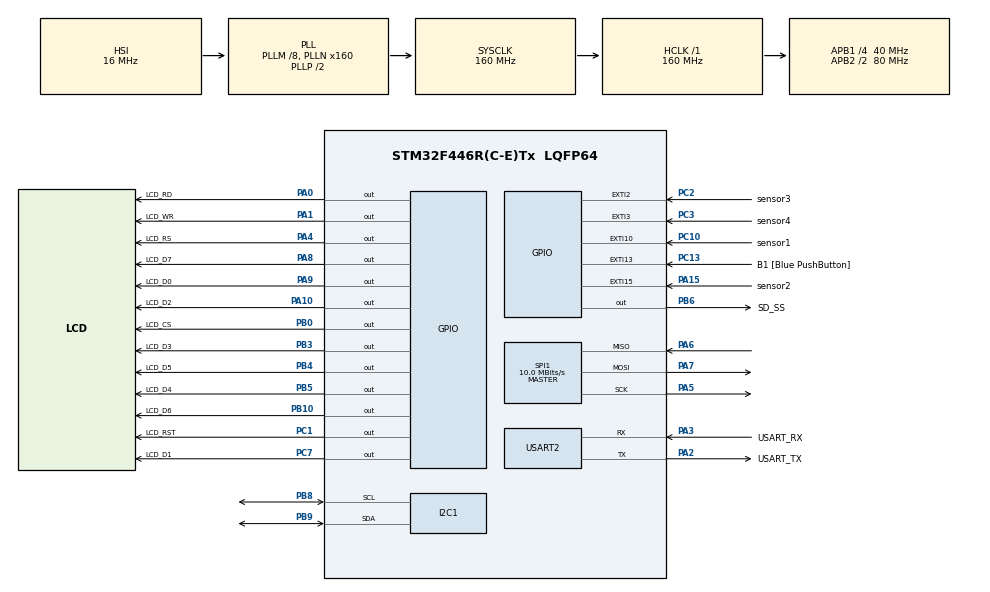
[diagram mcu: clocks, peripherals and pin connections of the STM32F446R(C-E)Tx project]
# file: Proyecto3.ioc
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FATFS._MAX_SS=4096
FATFS._USE_LFN=1
I2C1.OwnAddress=0x30
Mcu.Family=STM32F4
Mcu.Name=STM32F446R(C-E)Tx
Mcu.Package=LQFP64
NVIC.EXTI15_10_IRQn=true\:0\:0\:false\:false\:true\:true\:true\:true
NVIC.EXTI2_IRQn=true\:0\:0\:false\:false\:true\:true\:true\:true
NVIC.EXTI3_IRQn=true\:0\:0\:false\:false\:true\:true\:true\:true
NVIC.I2C1_ER_IRQn=true\:0\:0\:false\:false\:true\:true\:true\:true
NVIC.I2C1_EV_IRQn=true\:0\:0\:false\:false\:true\:true\:true\:true
NVIC.PriorityGroup=NVIC_PRIORITYGROUP_0
NVIC.USART2_IRQn=true\:0\:0\:false\:false\:true\:true\:true\:true
PA0-WKUP.GPIO_Label=LCD_RD
PA0-WKUP.Signal=GPIO_Output
PA1.GPIO_Label=LCD_WR
PA1.Signal=GPIO_Output
PA10.GPIO_Label=LCD_D2
PA10.Signal=GPIO_Output
PA13.GPIO_Label=TMS
PA13.Mode=Serial_Wire
PA13.Signal=SYS_JTMS-SWDIO
PA14.GPIO_Label=TCK
PA14.Mode=Serial_Wire
PA14.Signal=SYS_JTCK-SWCLK
PA15.GPIO_Label=sensor2
PA15.GPIO_ModeDefaultEXTI=GPIO_MODE_IT_RISING_FALLING
PA15.GPIO_PuPd=GPIO_NOPULL
PA15.Signal=GPXTI15
PA2.GPIO_Label=USART_TX
PA2.Mode=Asynchronous
PA2.Signal=USART2_TX
PA3.GPIO_Label=USART_RX
PA3.Mode=Asynchronous
PA3.Signal=USART2_RX
PA4.GPIO_Label=LCD_RS
PA4.Signal=GPIO_Output
PA5.Mode=Full_Duplex_Master
PA5.Signal=SPI1_SCK
PA6.Mode=Full_Duplex_Master
PA6.Signal=SPI1_MISO
PA7.Mode=Full_Duplex_Master
PA7.Signal=SPI1_MOSI
PA8.GPIO_Label=LCD_D7
PA8.Signal=GPIO_Output
PA9.GPIO_Label=LCD_D0
PA9.Signal=GPIO_Output
PB0.GPIO_Label=LCD_CS
PB0.Signal=GPIO_Output
PB10.GPIO_Label=LCD_D6
PB10.Signal=GPIO_Output
PB3.GPIO_Label=LCD_D3
PB3.Signal=GPIO_Output
PB4.GPIO_Label=LCD_D5
PB4.Signal=GPIO_Output
PB5.GPIO_Label=LCD_D4
PB5.Signal=GPIO_Output
PB6.GPIO_Label=SD_SS
PB6.GPIO_Speed=GPIO_SPEED_FREQ_MEDIUM
PB6.PinState=GPIO_PIN_SET
PB6.Signal=GPIO_Output
PB8.Mode=I2C
PB8.Signal=I2C1_SCL
PB9.Mode=I2C
PB9.Signal=I2C1_SDA
PC1.GPIO_Label=LCD_RST
PC1.Signal=GPIO_Output
PC10.GPIO_Label=sensor1
PC10.GPIO_ModeDefaultEXTI=GPIO_MODE_IT_RISING_FALLING
PC10.GPIO_PuPd=GPIO_NOPULL
PC10.Signal=GPXTI10
PC13.GPIO_Label=B1 [Blue PushButton]
PC13.GPIO_ModeDefaultEXTI=GPIO_MODE_IT_FALLING
PC13.Signal=GPXTI13
PC14-OSC32_IN.Mode=LSE-External-Oscillator
PC14-OSC32_IN.Signal=RCC_OSC32_IN
PC15-OSC32_OUT.Mode=LSE-External-Oscillator
PC15-OSC32_OUT.Signal=RCC_OSC32_OUT
PC2.GPIO_Label=sensor3
PC2.GPIO_ModeDefaultEXTI=GPIO_MODE_IT_RISING_FALLING
PC2.GPIO_PuPd=GPIO_NOPULL
PC2.Signal=GPXTI2
PC3.GPIO_Label=sensor4
PC3.GPIO_ModeDefaultEXTI=GPIO_MODE_IT_RISING_FALLING
PC3.GPIO_PuPd=GPIO_NOPULL
PC3.Signal=GPXTI3
PC7.GPIO_Label=LCD_D1
PC7.Signal=GPIO_Output
PH0-OSC_IN.Mode=HSE-External-Oscillator
PH0-OSC_IN.Signal=RCC_OSC_IN
PH1-OSC_OUT.Mode=HSE-External-Oscillator
PH1-OSC_OUT.Signal=RCC_OSC_OUT
ProjectManager.HeapSize=0x200
ProjectManager.StackSize=0x400
ProjectManager.TargetToolchain=STM32CubeIDE
RCC.48MHZClocksFreq_Value=84000000
RCC.AHBFreq_Value=160000000
RCC.APB1CLKDivider=RCC_HCLK_DIV4
RCC.APB1Freq_Value=40000000
RCC.APB1TimFreq_Value=80000000
RCC.APB2CLKDivider=RCC_HCLK_DIV2
RCC.APB2Freq_Value=80000000
RCC.APB2TimFreq_Value=160000000
RCC.CortexFreq_Value=160000000
RCC.FLatency-AdvancedSettings=FLASH_LATENCY_5
RCC.HCLKFreq_Value=160000000
RCC.HSE_VALUE=8000000
RCC.HSI_VALUE=16000000
RCC.PLLM=8
RCC.PLLN=160
RCC.SYSCLKFreq_VALUE=160000000
RCC.SYSCLKSource=RCC_SYSCLKSOURCE_PLLCLK
RCC.USBFreq_Value=160000000
RCC.VCOOutputFreq_Value=320000000
SPI1.BaudRatePrescaler=SPI_BAUDRATEPRESCALER_8
SPI1.CalculateBaudRate=10.0 MBits/s
SPI1.Direction=SPI_DIRECTION_2LINES
SPI1.Mode=SPI_MODE_MASTER
SPI1.VirtualType=VM_MASTER
USART2.VirtualMode=VM_ASYNC
VP_FATFS_VS_Generic.Mode=User_defined
board=NUCLEO-F446RE

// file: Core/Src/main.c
/* USER CODE BEGIN Header */
/**
  ******************************************************************************
  * @file           : main.c
  * @brief          : Main program body
  ******************************************************************************
  * @attention
  *
  * Copyright (c) 2025 STMicroelectronics.
  * All rights reserved.
  *
  * This software is licensed under terms that can be found in the LICENSE file
  * in the root directory of this software component.
  * If no LICENSE file comes with this software, it is provided AS-IS.
  *
  ******************************************************************************
  */
/* USER CODE END Header */
#include "main.h"
#include "fatfs.h"

/* USER CODE BEGIN Includes */
#include "fatfs_sd.h"
#include "string.h"
#include "stdio.h"
#include "ili9341.h"
#include <stdlib.h>
/* USER CODE END Includes */

/* USER CODE BEGIN PD */
FATFS fs;
FATFS *pfs;
FIL fil;
FRESULT fres;
DWORD fre_clust;
uint32_t totalSpace, freeSpace;

uint8_t buffer[1];
char cars[9][20] = {
		"carro1.bin", "carro2.bin", "carro3.bin", "carro4.bin",
		"carro5.bin", "carro6.bin", "carro7.bin", "carro8.bin", "empty.bin"};
char numbers[9][20] = {
		"cero.bin", "uno.bin", "dos.bin", "tres.bin",
		"cuatro.bin", "cinco.bin", "seis.bin", "siete.bin", "ocho.bin"};
uint8_t start = 0;
uint8_t key[8]={0,0,0,0,0,0,0,0};
uint8_t previousStateI2C[4] = {0,0,0,0};
uint8_t currentStateI2C[4] = {0,0,0,0};
uint8_t spaces = 0;
uint8_t cont = 0;

#define RxSIZE  1
#define TxSIZE  1
#define COLOR_RED_H     0xF8
#define COLOR_RED_L     0x00
#define COLOR_GREEN_H   0x07
#define COLOR_GREEN_L   0xE0
#define COLOR_BG_H      0x5A
#define COLOR_BG_L      0xAB

// Buffer I2C
uint8_t RxData[RxSIZE];					// Rx Buffer
uint8_t TxData[TxSIZE] = {0};					// Tx Buffer

const uint8_t square_red_circle_10x10_max_bytes[200] = {
    // Fila 0
    COLOR_BG_H, COLOR_BG_L, 0xF8, 0x00, 0xF8, 0x00, 0xF8, 0x00, 0xF8, 0x00, 0xF8, 0x00, 0xF8, 0x00, 0xF8, 0x00, 0xF8, 0x00, COLOR_BG_H, COLOR_BG_L,
    // Fila 1
    0xF8, 0x00, 0xF8, 0x00, 0xF8, 0x00, 0xF8, 0x00, 0xF8, 0x00, 0xF8, 0x00, 0xF8, 0x00, 0xF8, 0x00, 0xF8, 0x00, 0xF8, 0x00,
    // Fila 2
    0xF8, 0x00, 0xF8, 0x00, 0xF8, 0x00, 0xF8, 0x00, 0xF8, 0x00, 0xF8, 0x00, 0xF8, 0x00, 0xF8, 0x00, 0xF8, 0x00, 0xF8, 0x00,
    // Fila 3
    0xF8, 0x00, 0xF8, 0x00, 0xF8, 0x00, 0xF8, 0x00, 0xF8, 0x00, 0xF8, 0x00, 0xF8, 0x00, 0xF8, 0x00, 0xF8, 0x00, 0xF8, 0x00,
    // Fila 4
    0xF8, 0x00, 0xF8, 0x00, 0xF8, 0x00, 0xF8, 0x00, 0xF8, 0x00, 0xF8, 0x00, 0xF8, 0x00, 0xF8, 0x00, 0xF8, 0x00, 0xF8, 0x00,
    // Fila 5
    0xF8, 0x00, 0xF8, 0x00, 0xF8, 0x00, 0xF8, 0x00, 0xF8, 0x00, 0xF8, 0x00, 0xF8, 0x00, 0xF8, 0x00, 0xF8, 0x00, 0xF8, 0x00,
    // Fila 6
    0xF8, 0x00, 0xF8, 0x00, 0xF8, 0x00, 0xF8, 0x00, 0xF8, 0x00, 0xF8, 0x00, 0xF8, 0x00, 0xF8, 0x00, 0xF8, 0x00, 0xF8, 0x00,
    // Fila 7
    0xF8, 0x00, 0xF8, 0x00, 0xF8, 0x00, 0xF8, 0x00, 0xF8, 0x00, 0xF8, 0x00, 0xF8, 0x00, 0xF8, 0x00, 0xF8, 0x00, 0xF8, 0x00,
    // Fila 8
    0xF8, 0x00, 0xF8, 0x00, 0xF8, 0x00, 0xF8, 0x00, 0xF8, 0x00, 0xF8, 0x00, 0xF8, 0x00, 0xF8, 0x00, 0xF8, 0x00, 0xF8, 0x00,
    // Fila 9
    COLOR_BG_H, COLOR_BG_L, 0xF8, 0x00, 0xF8, 0x00, 0xF8, 0x00, 0xF8, 0x00, 0xF8, 0x00, 0xF8, 0x00, 0xF8, 0x00, 0xF8, 0x00, COLOR_BG_H, COLOR_BG_L
};

// Arreglo para el cuadrado de 10x10 con el círculo VERDE más grande
const uint8_t square_green_circle_10x10_max_bytes[200] = {
    // Fila 0
    COLOR_BG_H, COLOR_BG_L, 0x07, 0xE0, 0x07, 0xE0, 0x07, 0xE0, 0x07, 0xE0, 0x07, 0xE0, 0x07, 0xE0, 0x07, 0xE0, 0x07, 0xE0, COLOR_BG_H, COLOR_BG_L,
    // Fila 1
    0x07, 0xE0, 0x07, 0xE0, 0x07, 0xE0, 0x07, 0xE0, 0x07, 0xE0, 0x07, 0xE0, 0x07, 0xE0, 0x07, 0xE0, 0x07, 0xE0, 0x07, 0xE0,
    // Fila 2
    0x07, 0xE0, 0x07, 0xE0, 0x07, 0xE0, 0x07, 0xE0, 0x07, 0xE0, 0x07, 0xE0, 0x07, 0xE0, 0x07, 0xE0, 0x07, 0xE0, 0x07, 0xE0,
    // Fila 3
    0x07, 0xE0, 0x07, 0xE0, 0x07, 0xE0, 0x07, 0xE0, 0x07, 0xE0, 0x07, 0xE0, 0x07, 0xE0, 0x07, 0xE0, 0x07, 0xE0, 0x07, 0xE0,
    // Fila 4
    0x07, 0xE0, 0x07, 0xE0, 0x07, 0xE0, 0x07, 0xE0, 0x07, 0xE0, 0x07, 0xE0, 0x07, 0xE0, 0x07, 0xE0, 0x07, 0xE0, 0x07, 0xE0,
    // Fila 5
    0x07, 0xE0, 0x07, 0xE0, 0x07, 0xE0, 0x07, 0xE0, 0x07, 0xE0, 0x07, 0xE0, 0x07, 0xE0, 0x07, 0xE0, 0x07, 0xE0, 0x07, 0xE0,
    // Fila 6
    0x07, 0xE0, 0x07, 0xE0, 0x07, 0xE0, 0x07, 0xE0, 0x07, 0xE0, 0x07, 0xE0, 0x07, 0xE0, 0x07, 0xE0, 0x07, 0xE0, 0x07, 0xE0,
    // Fila 7
    0x07, 0xE0, 0x07, 0xE0, 0x07, 0xE0, 0x07, 0xE0, 0x07, 0xE0, 0x07, 0xE0, 0x07, 0xE0, 0x07, 0xE0, 0x07, 0xE0, 0x07, 0xE0,
    // Fila 8
    0x07, 0xE0, 0x07, 0xE0, 0x07, 0xE0, 0x07, 0xE0, 0x07, 0xE0, 0x07, 0xE0, 0x07, 0xE0, 0x07, 0xE0, 0x07, 0xE0, 0x07, 0xE0,
    // Fila 9
    COLOR_BG_H, COLOR_BG_L, 0x07, 0xE0, 0x07, 0xE0, 0x07, 0xE0, 0x07, 0xE0, 0x07, 0xE0, 0x07, 0xE0, 0x07, 0xE0, 0x07, 0xE0, COLOR_BG_H, COLOR_BG_L
};
/* USER CODE END PD */

I2C_HandleTypeDef hi2c1;

SPI_HandleTypeDef hspi1;

UART_HandleTypeDef huart2;

void SystemClock_Config(void);
static void MX_GPIO_Init(void);
static void MX_USART2_UART_Init(void);
static void MX_SPI1_Init(void);
static void MX_I2C1_Init(void);

int main(void)
{

  /* MCU Configuration--------------------------------------------------------*/

  /* Reset of all peripherals, Initializes the Flash interface and the Systick. */
  HAL_Init();

  /* Configure the system clock */
  SystemClock_Config();

  /* Initialize all configured peripherals */
  MX_GPIO_Init();
  MX_USART2_UART_Init();
  MX_SPI1_Init();
  MX_FATFS_Init();
  MX_I2C1_Init();
  /* USER CODE BEGIN 2 */
  HAL_UART_Receive_IT(&huart2, buffer, 1);

  //I2C Communication
  if(HAL_I2C_EnableListen_IT(&hi2c1) != HAL_OK){
	  Error_Handler();
  }

  LCD_Init();
  LCD_Clear(0x0000);
  //LCD_Print("Hola Mundo", 20, 100, 1, 0x001F, 0xCAB9);
  fres = f_mount(&fs, "/", 0);	// Mounting system

  //LCD_Bitmap(0, 0, 320, 240, fondo);
  //LCD_ImageFromSD(0, 0, 240, 240, "prueba.bin");

  //HAL_Delay(1000);
  //LCD_Clear(0x0000);
  LCD_ImageFromSD(0, 0, 320, 240, "parking.bin");
  LCD_Print(" Fer-22676 ", 230, 15, 1, 0, 0xffff);
  LCD_Print(" Alex-22648", 230, 25, 1, 0, 0xffff);
  LCD_Print("  Parking  ", 230, 50, 1, 0, 0xffff);
  LCD_Print("  spaces   ", 230, 62, 1, 0, 0xffff);
  LCD_Print(" available ", 230, 74, 1, 0, 0xffff);

  /*
  LCD_ImageFromSD(0, 0, 230, 240, "emptyParking.bin");
  LCD_ImageFromSD(26, 20, 40, 80, cars[0]);
  LCD_ImageFromSD(76, 20, 40, 80, cars[1]);
  LCD_ImageFromSD(124, 20, 40, 80, cars[2]);
  LCD_ImageFromSD(174, 20, 40, 80, cars[3]);
  LCD_ImageFromSD(26, 140, 40, 80, cars[4]);
  LCD_ImageFromSD(76, 140, 40, 80, cars[5]);
  LCD_ImageFromSD(124, 140, 40, 80, cars[6]);
  LCD_ImageFromSD(174, 140, 40, 80, cars[7]);
  */

  LCD_ImageFromSD(26, 20, 40, 80, cars[8]);
  LCD_ImageFromSD(76, 20, 40, 80, cars[8]);
  LCD_ImageFromSD(124, 20, 40, 80, cars[8]);
  LCD_ImageFromSD(174, 20, 40, 80, cars[8]);
  LCD_ImageFromSD(26, 140, 40, 80, cars[8]);
  LCD_ImageFromSD(76, 140, 40, 80, cars[8]);
  LCD_ImageFromSD(124, 140, 40, 80, cars[8]);
  LCD_ImageFromSD(174, 140, 40, 80, cars[8]);

  LCD_Bitmap(41, 5, 10, 10, square_red_circle_10x10_max_bytes);
  LCD_Bitmap(91, 5, 10, 10, square_red_circle_10x10_max_bytes);
  LCD_Bitmap(139, 5, 10, 10, square_red_circle_10x10_max_bytes);
  LCD_Bitmap(189, 5, 10, 10, square_red_circle_10x10_max_bytes);
  LCD_Bitmap(41, 225, 10, 10, square_red_circle_10x10_max_bytes);
  LCD_Bitmap(91, 225, 10, 10, square_red_circle_10x10_max_bytes);
  LCD_Bitmap(139, 225, 10, 10, square_red_circle_10x10_max_bytes);
  LCD_Bitmap(189, 225, 10, 10, square_red_circle_10x10_max_bytes);

  LCD_Bitmap(41, 5, 10, 10, square_green_circle_10x10_max_bytes);
  LCD_Bitmap(91, 5, 10, 10, square_green_circle_10x10_max_bytes);
  LCD_Bitmap(139, 5, 10, 10, square_green_circle_10x10_max_bytes);
  LCD_Bitmap(189, 5, 10, 10, square_green_circle_10x10_max_bytes);
  LCD_Bitmap(41, 225, 10, 10, square_green_circle_10x10_max_bytes);
  LCD_Bitmap(91, 225, 10, 10, square_green_circle_10x10_max_bytes);
  LCD_Bitmap(139, 225, 10, 10, square_green_circle_10x10_max_bytes);
  LCD_Bitmap(189, 225, 10, 10, square_green_circle_10x10_max_bytes);

  LCD_ImageFromSD(255, 100, 40, 80, numbers[0]);
  LCD_ImageFromSD(255, 100, 40, 80, numbers[1]);
  LCD_ImageFromSD(255, 100, 40, 80, numbers[2]);
  LCD_ImageFromSD(255, 100, 40, 80, numbers[3]);
  LCD_ImageFromSD(255, 100, 40, 80, numbers[4]);
  LCD_ImageFromSD(255, 100, 40, 80, numbers[5]);
  LCD_ImageFromSD(255, 100, 40, 80, numbers[6]);
  LCD_ImageFromSD(255, 100, 40, 80, numbers[7]);
  LCD_ImageFromSD(255, 100, 40, 80, numbers[8]);

  GPIO_PinState currentState = HAL_GPIO_ReadPin(sensor1_GPIO_Port, sensor1_Pin);
  switch (currentState) {
  	  case GPIO_PIN_SET: key[0] = 2; break;
  	  case GPIO_PIN_RESET: key[0] = 1; break;
  	  default: break;
  }

  currentState = HAL_GPIO_ReadPin(sensor2_GPIO_Port, sensor2_Pin);
  switch (currentState) {
  	  case GPIO_PIN_SET: key[1] = 2; break;
	  case GPIO_PIN_RESET: key[1] = 1; break;
	  default: break;
  }

  currentState = HAL_GPIO_ReadPin(sensor3_GPIO_Port, sensor3_Pin);
  switch (currentState) {
  	  case GPIO_PIN_SET: key[2] = 2; break;
      case GPIO_PIN_RESET: key[2] = 1; break;
      default: break;
  }

  currentState = HAL_GPIO_ReadPin(sensor4_GPIO_Port, sensor4_Pin);
  switch (currentState) {
	  case GPIO_PIN_SET: key[3] = 2; break;
	  case GPIO_PIN_RESET: key[3] = 1; break;
	  default: break;
  }

  start = 1;

  /* USER CODE END 2 */

  /* Infinite loop */
  while (1)
  {

    /* USER CODE BEGIN 3 */
	  if(key[0] == 1){
		  LCD_ImageFromSD(26, 20, 40, 80, cars[0]);
		  key[0] = 3; HAL_Delay(1);
		  LCD_Bitmap(41, 5, 10, 10, square_red_circle_10x10_max_bytes);
		  spaces |= (1 << 0);
	  }else if(key[0] == 2){
		  LCD_ImageFromSD(26, 20, 40, 80, cars[8]);
		  key[0] = 3; HAL_Delay(1);
		  LCD_Bitmap(41, 5, 10, 10, square_green_circle_10x10_max_bytes);
		  spaces &= ~(1 << 0);
	  }

	  if(key[1] == 1){
		  LCD_ImageFromSD(76, 20, 40, 80, cars[1]);
		  key[1] = 3; HAL_Delay(1);
		  LCD_Bitmap(91, 5, 10, 10, square_red_circle_10x10_max_bytes);
		  spaces |= (1 << 1);
	  }else if(key[1] == 2){
		  LCD_ImageFromSD(76, 20, 40, 80, cars[8]);
		  key[1] = 3; HAL_Delay(1);
		  LCD_Bitmap(91, 5, 10, 10, square_green_circle_10x10_max_bytes);
		  spaces &= ~(1 << 1);
	  }

	  if(key[2] == 1){
		  LCD_ImageFromSD(124, 20, 40, 80, cars[2]);
		  key[2] = 3; HAL_Delay(1);
		  LCD_Bitmap(139, 5, 10, 10, square_red_circle_10x10_max_bytes);
		  spaces |= (1 << 2);
	  }else if(key[2] == 2){
		  LCD_ImageFromSD(124, 20, 40, 80, cars[8]);
		  key[2] = 3; HAL_Delay(1);
		  LCD_Bitmap(139, 5, 10, 10, square_green_circle_10x10_max_bytes);
		  spaces &= ~(1 << 2);
	  }

	  if(key[3] == 1){
		  LCD_ImageFromSD(174, 20, 40, 80, cars[3]);
		  key[3] = 3; HAL_Delay(1);
		  LCD_Bitmap(189, 5, 10, 10, square_red_circle_10x10_max_bytes);
		  spaces |= (1 << 3);
	  }else if(key[3] == 2){
		  LCD_ImageFromSD(174, 20, 40, 80, cars[8]);
		  key[3] = 3; HAL_Delay(1);
		  LCD_Bitmap(189, 5, 10, 10, square_green_circle_10x10_max_bytes);
		  spaces &= ~(1 << 3);
	  }

	  if(key[4] == 1){
		  LCD_ImageFromSD(26, 140, 40, 80, cars[4]);
		  key[4] = 3; HAL_Delay(1);
		  LCD_Bitmap(41, 225, 10, 10, square_red_circle_10x10_max_bytes);
		  spaces |= (1 << 4);
	  }else if(key[4] == 2){
		  LCD_ImageFromSD(26, 140, 40, 80, cars[8]);
		  key[4] = 3; HAL_Delay(1);
		  LCD_Bitmap(41, 225, 10, 10, square_green_circle_10x10_max_bytes);
		  spaces &= ~(1 << 4);
	  }

	  if(key[5] == 1){
		  LCD_ImageFromSD(76, 140, 40, 80, cars[5]);
		  key[5] = 3; HAL_Delay(1);
		  LCD_Bitmap(91, 225, 10, 10, square_red_circle_10x10_max_bytes);
		  spaces |= (1 << 5);
	  }else if(key[5] == 2){
		  LCD_ImageFromSD(76, 140, 40, 80, cars[8]);
		  key[5] = 3; HAL_Delay(1);
		  LCD_Bitmap(91, 225, 10, 10, square_green_circle_10x10_max_bytes);
		  spaces &= ~(1 << 5);
	  }

	  if(key[6] == 1){
		  LCD_ImageFromSD(124, 140, 40, 80, cars[6]);
		  key[6] = 3; HAL_Delay(1);
		  LCD_Bitmap(139, 225, 10, 10, square_red_circle_10x10_max_bytes);
		  spaces |= (1 << 6);
	  }else if(key[6] == 2){
		  LCD_ImageFromSD(124, 140, 40, 80, cars[8]);
		  key[6] = 3; HAL_Delay(1);
		  LCD_Bitmap(139, 225, 10, 10, square_green_circle_10x10_max_bytes);
		  spaces &= ~(1 << 6);
	  }

	  if(key[7] == 1){
		  LCD_ImageFromSD(174, 140, 40, 80, cars[7]);
		  key[7] = 3; HAL_Delay(1);
		  LCD_Bitmap(189, 225, 10, 10, square_red_circle_10x10_max_bytes);
		  spaces |= (1 << 7);
	  }else if(key[7] == 2){
		  LCD_ImageFromSD(174, 140, 40, 80, cars[8]);
		  key[7] = 3; HAL_Delay(1);
		  LCD_Bitmap(189, 225, 10, 10, square_green_circle_10x10_max_bytes);
		  spaces &= ~(1 << 7);
	  }

	  for(int i =  0; i < 8; i++)
		  if(key[i] == 3){
			  key[i] = 0;			// restart key
			  cont = 0;				// restart spaces counter
			  for(int j = 0; j < 8; j++) spaces & (1 << j) ? (cont++) : (cont = cont);		// counting from bits
			  LCD_ImageFromSD(255, 100, 40, 80, numbers[8-cont]);
		  }
	  HAL_Delay(1);
  }
  /* USER CODE END 3 */
}

void SystemClock_Config(void)
{
  RCC_OscInitTypeDef RCC_OscInitStruct = {0};
  RCC_ClkInitTypeDef RCC_ClkInitStruct = {0};

  /** Configure the main internal regulator output voltage
  */
  __HAL_RCC_PWR_CLK_ENABLE();
  __HAL_PWR_VOLTAGESCALING_CONFIG(PWR_REGULATOR_VOLTAGE_SCALE1);

  /** Initializes the RCC Oscillators according to the specified parameters
  * in the RCC_OscInitTypeDef structure.
  */
  RCC_OscInitStruct.OscillatorType = RCC_OSCILLATORTYPE_HSI;
  RCC_OscInitStruct.HSIState = RCC_HSI_ON;
  RCC_OscInitStruct.HSICalibrationValue = RCC_HSICALIBRATION_DEFAULT;
  RCC_OscInitStruct.PLL.PLLState = RCC_PLL_ON;
  RCC_OscInitStruct.PLL.PLLSource = RCC_PLLSOURCE_HSI;
  RCC_OscInitStruct.PLL.PLLM = 8;
  RCC_OscInitStruct.PLL.PLLN = 160;
  RCC_OscInitStruct.PLL.PLLP = RCC_PLLP_DIV2;
  RCC_OscInitStruct.PLL.PLLQ = 2;
  RCC_OscInitStruct.PLL.PLLR = 2;
  if (HAL_RCC_OscConfig(&RCC_OscInitStruct) != HAL_OK)
  {
    Error_Handler();
  }

  /** Initializes the CPU, AHB and APB buses clocks
  */
  RCC_ClkInitStruct.ClockType = RCC_CLOCKTYPE_HCLK|RCC_CLOCKTYPE_SYSCLK
                              |RCC_CLOCKTYPE_PCLK1|RCC_CLOCKTYPE_PCLK2;
  RCC_ClkInitStruct.SYSCLKSource = RCC_SYSCLKSOURCE_PLLCLK;
  RCC_ClkInitStruct.AHBCLKDivider = RCC_SYSCLK_DIV1;
  RCC_ClkInitStruct.APB1CLKDivider = RCC_HCLK_DIV4;
  RCC_ClkInitStruct.APB2CLKDivider = RCC_HCLK_DIV2;

  if (HAL_RCC_ClockConfig(&RCC_ClkInitStruct, FLASH_LATENCY_5) != HAL_OK)
  {
    Error_Handler();
  }
}

static void MX_I2C1_Init(void)
{

  hi2c1.Instance = I2C1;
  hi2c1.Init.ClockSpeed = 100000;
  hi2c1.Init.DutyCycle = I2C_DUTYCYCLE_2;
  hi2c1.Init.OwnAddress1 = 96;
  hi2c1.Init.AddressingMode = I2C_ADDRESSINGMODE_7BIT;
  hi2c1.Init.DualAddressMode = I2C_DUALADDRESS_DISABLE;
  hi2c1.Init.OwnAddress2 = 0;
  hi2c1.Init.GeneralCallMode = I2C_GENERALCALL_DISABLE;
  hi2c1.Init.NoStretchMode = I2C_NOSTRETCH_DISABLE;
  if (HAL_I2C_Init(&hi2c1) != HAL_OK)
  {
    Error_Handler();
  }

}

static void MX_SPI1_Init(void)
{

  /* SPI1 parameter configuration*/
  hspi1.Instance = SPI1;
  hspi1.Init.Mode = SPI_MODE_MASTER;
  hspi1.Init.Direction = SPI_DIRECTION_2LINES;
  hspi1.Init.DataSize = SPI_DATASIZE_8BIT;
  hspi1.Init.CLKPolarity = SPI_POLARITY_LOW;
  hspi1.Init.CLKPhase = SPI_PHASE_1EDGE;
  hspi1.Init.NSS = SPI_NSS_SOFT;
  hspi1.Init.BaudRatePrescaler = SPI_BAUDRATEPRESCALER_8;
  hspi1.Init.FirstBit = SPI_FIRSTBIT_MSB;
  hspi1.Init.TIMode = SPI_TIMODE_DISABLE;
  hspi1.Init.CRCCalculation = SPI_CRCCALCULATION_DISABLE;
  hspi1.Init.CRCPolynomial = 10;
  if (HAL_SPI_Init(&hspi1) != HAL_OK)
  {
    Error_Handler();
  }

}

static void MX_USART2_UART_Init(void)
{

  huart2.Instance = USART2;
  huart2.Init.BaudRate = 115200;
  huart2.Init.WordLength = UART_WORDLENGTH_8B;
  huart2.Init.StopBits = UART_STOPBITS_1;
  huart2.Init.Parity = UART_PARITY_NONE;
  huart2.Init.Mode = UART_MODE_TX_RX;
  huart2.Init.HwFlowCtl = UART_HWCONTROL_NONE;
  huart2.Init.OverSampling = UART_OVERSAMPLING_16;
  if (HAL_UART_Init(&huart2) != HAL_OK)
  {
    Error_Handler();
  }

}

static void MX_GPIO_Init(void)
{
  GPIO_InitTypeDef GPIO_InitStruct = {0};

  /* GPIO Ports Clock Enable */
  __HAL_RCC_GPIOC_CLK_ENABLE();
  __HAL_RCC_GPIOH_CLK_ENABLE();
  __HAL_RCC_GPIOA_CLK_ENABLE();
  __HAL_RCC_GPIOB_CLK_ENABLE();

  /*Configure GPIO pin Output Level */
  HAL_GPIO_WritePin(GPIOC, LCD_RST_Pin|LCD_D1_Pin, GPIO_PIN_RESET);

  /*Configure GPIO pin Output Level */
  HAL_GPIO_WritePin(GPIOA, LCD_RD_Pin|LCD_WR_Pin|LCD_RS_Pin|LCD_D7_Pin
                          |LCD_D0_Pin|LCD_D2_Pin, GPIO_PIN_RESET);

  /*Configure GPIO pin Output Level */
  HAL_GPIO_WritePin(GPIOB, LCD_CS_Pin|LCD_D6_Pin|LCD_D3_Pin|LCD_D5_Pin
                          |LCD_D4_Pin, GPIO_PIN_RESET);

  /*Configure GPIO pin Output Level */
  HAL_GPIO_WritePin(SD_SS_GPIO_Port, SD_SS_Pin, GPIO_PIN_SET);

  /*Configure GPIO pin : B1_Pin */
  GPIO_InitStruct.Pin = B1_Pin;
  GPIO_InitStruct.Mode = GPIO_MODE_IT_FALLING;
  GPIO_InitStruct.Pull = GPIO_NOPULL;
  HAL_GPIO_Init(B1_GPIO_Port, &GPIO_InitStruct);

  /*Configure GPIO pins : LCD_RST_Pin LCD_D1_Pin */
  GPIO_InitStruct.Pin = LCD_RST_Pin|LCD_D1_Pin;
  GPIO_InitStruct.Mode = GPIO_MODE_OUTPUT_PP;
  GPIO_InitStruct.Pull = GPIO_NOPULL;
  GPIO_InitStruct.Speed = GPIO_SPEED_FREQ_LOW;
  HAL_GPIO_Init(GPIOC, &GPIO_InitStruct);

  /*Configure GPIO pins : sensor3_Pin sensor4_Pin sensor1_Pin */
  GPIO_InitStruct.Pin = sensor3_Pin|sensor4_Pin|sensor1_Pin;
  GPIO_InitStruct.Mode = GPIO_MODE_IT_RISING_FALLING;
  GPIO_InitStruct.Pull = GPIO_NOPULL;
  HAL_GPIO_Init(GPIOC, &GPIO_InitStruct);

  /*Configure GPIO pins : LCD_RD_Pin LCD_WR_Pin LCD_RS_Pin LCD_D7_Pin
                           LCD_D0_Pin LCD_D2_Pin */
  GPIO_InitStruct.Pin = LCD_RD_Pin|LCD_WR_Pin|LCD_RS_Pin|LCD_D7_Pin
                          |LCD_D0_Pin|LCD_D2_Pin;
  GPIO_InitStruct.Mode = GPIO_MODE_OUTPUT_PP;
  GPIO_InitStruct.Pull = GPIO_NOPULL;
  GPIO_InitStruct.Speed = GPIO_SPEED_FREQ_LOW;
  HAL_GPIO_Init(GPIOA, &GPIO_InitStruct);

  /*Configure GPIO pins : LCD_CS_Pin LCD_D6_Pin LCD_D3_Pin LCD_D5_Pin
                           LCD_D4_Pin */
  GPIO_InitStruct.Pin = LCD_CS_Pin|LCD_D6_Pin|LCD_D3_Pin|LCD_D5_Pin
                          |LCD_D4_Pin;
  GPIO_InitStruct.Mode = GPIO_MODE_OUTPUT_PP;
  GPIO_InitStruct.Pull = GPIO_NOPULL;
  GPIO_InitStruct.Speed = GPIO_SPEED_FREQ_LOW;
  HAL_GPIO_Init(GPIOB, &GPIO_InitStruct);

  /*Configure GPIO pin : sensor2_Pin */
  GPIO_InitStruct.Pin = sensor2_Pin;
  GPIO_InitStruct.Mode = GPIO_MODE_IT_RISING_FALLING;
  GPIO_InitStruct.Pull = GPIO_NOPULL;
  HAL_GPIO_Init(sensor2_GPIO_Port, &GPIO_InitStruct);

  /*Configure GPIO pin : SD_SS_Pin */
  GPIO_InitStruct.Pin = SD_SS_Pin;
  GPIO_InitStruct.Mode = GPIO_MODE_OUTPUT_PP;
  GPIO_InitStruct.Pull = GPIO_NOPULL;
  GPIO_InitStruct.Speed = GPIO_SPEED_FREQ_MEDIUM;
  HAL_GPIO_Init(SD_SS_GPIO_Port, &GPIO_InitStruct);

  /* EXTI interrupt init*/
  HAL_NVIC_SetPriority(EXTI2_IRQn, 0, 0);
  HAL_NVIC_EnableIRQ(EXTI2_IRQn);

  HAL_NVIC_SetPriority(EXTI3_IRQn, 0, 0);
  HAL_NVIC_EnableIRQ(EXTI3_IRQn);

  HAL_NVIC_SetPriority(EXTI15_10_IRQn, 0, 0);
  HAL_NVIC_EnableIRQ(EXTI15_10_IRQn);

}

/* USER CODE BEGIN 4 */

void HAL_GPIO_EXTI_Callback(uint16_t GPIO_Pin){
	if(GPIO_Pin == sensor1_Pin && start == 1){
		GPIO_PinState currentState1 = HAL_GPIO_ReadPin(sensor1_GPIO_Port, sensor1_Pin);
		switch (currentState1) {
			case GPIO_PIN_SET: key[0] = 2; break;
			case GPIO_PIN_RESET: key[0] = 1; break;
			default: break;
		}
	}

	if(GPIO_Pin == sensor2_Pin && start == 1){
		GPIO_PinState currentState2 = HAL_GPIO_ReadPin(sensor2_GPIO_Port, sensor2_Pin);
		switch (currentState2) {
			case GPIO_PIN_SET: key[1] = 2; break;
			case GPIO_PIN_RESET: key[1] = 1; break;
			default: break;
		}
	}

	if(GPIO_Pin == sensor3_Pin && start == 1){
		GPIO_PinState currentState3 = HAL_GPIO_ReadPin(sensor3_GPIO_Port, sensor3_Pin);
		switch (currentState3) {
			case GPIO_PIN_SET: key[2] = 2; break;
			case GPIO_PIN_RESET: key[2] = 1; break;
			default: break;
		}
	}

	if(GPIO_Pin == sensor4_Pin && start == 1){
		GPIO_PinState currentState4 = HAL_GPIO_ReadPin(sensor4_GPIO_Port, sensor4_Pin);
		switch (currentState4) {
			case GPIO_PIN_SET: key[3] = 2; break;
			case GPIO_PIN_RESET: key[3] = 1; break;
			default: break;
		}
	}
}

void HAL_UART_RxCpltCallback(UART_HandleTypeDef *huart){

	for(int i = 0; i < 4; i++){
		currentStateI2C[i] = buffer[0] & (1 << i) ? 1:0;
		if(previousStateI2C[i] == currentStateI2C[i]) key[i + 4] = 0;		// verifying bits
		else{																// bit's changed
			previousStateI2C[i] = currentStateI2C[i];						// load new value
			key[i + 4] = currentStateI2C[i] == 1 ? 1:2;						// key assignment
		}
	}

	HAL_UART_Receive_IT(&huart2, buffer, 1);

}

/* I2C Callbacks */
void HAL_I2C_ListenCpltCallback(I2C_HandleTypeDef *hi2c){													//At the end of the firts data analysis
	TxData[0] = (spaces &= 0x0F);
	buffer[0] = RxData[0];
	for(int i = 0; i < 4; i++){
		currentStateI2C[i] = buffer[0] & (1 << (i+4)) ? 1:0;
		if(previousStateI2C[i] == currentStateI2C[i]) key[i + 4] = 0;		// verifying bits
		else{																// bit's changed
			previousStateI2C[i] = currentStateI2C[i];						// load new value
			key[i + 4] = currentStateI2C[i] == 1 ? 1:2;						// key assignment
		}
	}
	HAL_I2C_EnableListen_IT(hi2c);
}
void HAL_I2C_SlaveTxCpltCallback(I2C_HandleTypeDef *I2cHandle){												//Tx Transfer completed callback -> End Transmission
}
void HAL_I2C_SlaveRxCpltCallback(I2C_HandleTypeDef *I2cHandle){												//Rx Transfer completed callback -> End Receiving
	//HAL_UART_Transmit(&huart2, RxData, 4, 1000);
}
void HAL_I2C_AddrCallback(I2C_HandleTypeDef *hi2c, uint8_t TransferDirection, uint16_t AddrMatchCode)		// Slave Address Match Callback
{
	if (TransferDirection == I2C_DIRECTION_TRANSMIT)  // if the master wants to transmit the data
	{
		if (HAL_I2C_Slave_Seq_Receive_IT(&hi2c1, (uint8_t *) RxData, RxSIZE, I2C_FIRST_AND_LAST_FRAME) != HAL_OK){
			Error_Handler();
		}
	}
	else if (TransferDirection == I2C_DIRECTION_RECEIVE){
		if (HAL_I2C_Slave_Seq_Transmit_IT(&hi2c1, (uint8_t *) TxData, TxSIZE, I2C_FIRST_AND_LAST_FRAME) != HAL_OK){
			Error_Handler();
		}
	}
}
void HAL_I2C_ErrorCallback(I2C_HandleTypeDef *I2cHandle)													// I2C Communication Error callback
{
	if(HAL_I2C_GetError(I2cHandle) != HAL_I2C_ERROR_AF){
		Error_Handler();
	}
}

/* USER CODE END 4 */

void Error_Handler(void)
{
  __disable_irq();
  while (1)
  {
  }
}
